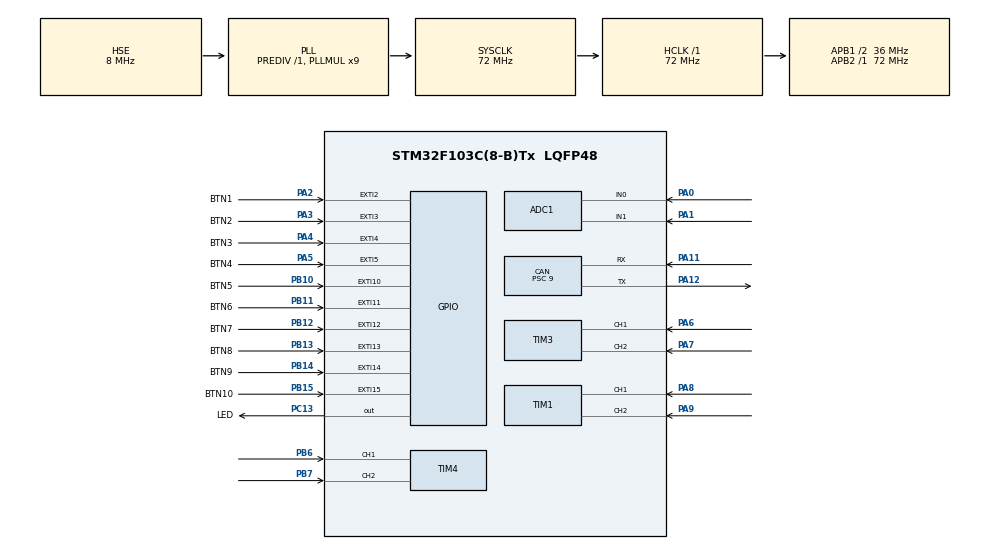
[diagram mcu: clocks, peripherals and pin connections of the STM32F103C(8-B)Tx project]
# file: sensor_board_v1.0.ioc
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ADC1.Channel-0\#ChannelRegularConversion=ADC_CHANNEL_0
ADC1.Channel-1\#ChannelRegularConversion=ADC_CHANNEL_1
ADC1.ContinuousConvMode=ENABLE
ADC1.NbrOfConversion=2
ADC1.NbrOfConversionFlag=1
ADC1.Rank-0\#ChannelRegularConversion=1
ADC1.Rank-1\#ChannelRegularConversion=2
ADC1.SamplingTime-0\#ChannelRegularConversion=ADC_SAMPLETIME_239CYCLES_5
ADC1.SamplingTime-1\#ChannelRegularConversion=ADC_SAMPLETIME_1CYCLE_5
ADC1.master=1
CAN.BS1=CAN_BS1_2TQ
CAN.CalculateBaudRate=1000000
CAN.CalculateTimeBit=1000
CAN.CalculateTimeQuantum=250.0
CAN.Prescaler=9
Dma.ADC1.0.Direction=DMA_PERIPH_TO_MEMORY
Dma.ADC1.0.Instance=DMA1_Channel1
Dma.ADC1.0.MemDataAlignment=DMA_MDATAALIGN_HALFWORD
Dma.ADC1.0.MemInc=DMA_MINC_ENABLE
Dma.ADC1.0.Mode=DMA_CIRCULAR
Dma.ADC1.0.PeriphDataAlignment=DMA_PDATAALIGN_HALFWORD
Dma.ADC1.0.PeriphInc=DMA_PINC_DISABLE
Dma.ADC1.0.Priority=DMA_PRIORITY_MEDIUM
Dma.Request0=ADC1
Mcu.Family=STM32F1
Mcu.Name=STM32F103C(8-B)Tx
Mcu.Package=LQFP48
NVIC.CAN1_RX1_IRQn=true\:0\:0\:false\:false\:true\:true\:true\:true
NVIC.DMA1_Channel1_IRQn=true\:0\:0\:false\:false\:true\:false\:true\:true
NVIC.EXTI2_IRQn=true\:0\:0\:false\:false\:true\:true\:true\:true
NVIC.EXTI3_IRQn=true\:0\:0\:false\:false\:true\:true\:true\:true
NVIC.EXTI4_IRQn=true\:0\:0\:false\:false\:true\:true\:true\:true
NVIC.PriorityGroup=NVIC_PRIORITYGROUP_4
PA0-WKUP.Signal=ADCx_IN0
PA1.Signal=ADCx_IN1
PA11.Mode=CAN_Activate
PA11.Signal=CAN_RX
PA12.Mode=CAN_Activate
PA12.Signal=CAN_TX
PA13.Mode=Serial_Wire
PA13.Signal=SYS_JTMS-SWDIO
PA14.Mode=Serial_Wire
PA14.Signal=SYS_JTCK-SWCLK
PA2.GPIO_Label=BTN1
PA2.GPIO_ModeDefaultEXTI=GPIO_MODE_IT_RISING
PA2.GPIO_PuPd=GPIO_NOPULL
PA2.Signal=GPXTI2
PA3.GPIO_Label=BTN2
PA3.GPIO_ModeDefaultEXTI=GPIO_MODE_IT_RISING
PA3.GPIO_PuPd=GPIO_NOPULL
PA3.Signal=GPXTI3
PA4.GPIO_Label=BTN3
PA4.GPIO_ModeDefaultEXTI=GPIO_MODE_IT_RISING
PA4.GPIO_PuPd=GPIO_NOPULL
PA4.Signal=GPXTI4
PA5.GPIO_Label=BTN4
PA5.GPIO_ModeDefaultEXTI=GPIO_MODE_IT_RISING
PA5.GPIO_PuPd=GPIO_NOPULL
PA5.Signal=GPXTI5
PA6.Signal=S_TIM3_CH1
PA7.Signal=S_TIM3_CH2
PA8.Signal=S_TIM1_CH1
PA9.Signal=S_TIM1_CH2
PB10.GPIO_Label=BTN5
PB10.GPIO_ModeDefaultEXTI=GPIO_MODE_IT_RISING
PB10.GPIO_PuPd=GPIO_NOPULL
PB10.Signal=GPXTI10
PB11.GPIO_Label=BTN6
PB11.GPIO_ModeDefaultEXTI=GPIO_MODE_IT_RISING
PB11.GPIO_PuPd=GPIO_NOPULL
PB11.Signal=GPXTI11
PB12.GPIO_Label=BTN7
PB12.GPIO_ModeDefaultEXTI=GPIO_MODE_IT_RISING
PB12.GPIO_PuPd=GPIO_NOPULL
PB12.Signal=GPXTI12
PB13.GPIO_Label=BTN8
PB13.GPIO_ModeDefaultEXTI=GPIO_MODE_IT_RISING
PB13.GPIO_PuPd=GPIO_NOPULL
PB13.Signal=GPXTI13
PB14.GPIO_Label=BTN9
PB14.GPIO_ModeDefaultEXTI=GPIO_MODE_IT_RISING
PB14.GPIO_PuPd=GPIO_NOPULL
PB14.Signal=GPXTI14
PB15.GPIO_Label=BTN10
PB15.GPIO_ModeDefaultEXTI=GPIO_MODE_IT_RISING
PB15.GPIO_PuPd=GPIO_NOPULL
PB15.Signal=GPXTI15
PB6.Signal=S_TIM4_CH1
PB7.Signal=S_TIM4_CH2
PC13-TAMPER-RTC.GPIO_Label=LED
PC13-TAMPER-RTC.Signal=GPIO_Output
PD0-OSC_IN.Mode=HSE-External-Oscillator
PD0-OSC_IN.Signal=RCC_OSC_IN
PD1-OSC_OUT.Mode=HSE-External-Oscillator
PD1-OSC_OUT.Signal=RCC_OSC_OUT
ProjectManager.HeapSize=0x200
ProjectManager.StackSize=0x400
ProjectManager.TargetToolchain=STM32CubeIDE
RCC.ADCPresc=RCC_ADCPCLK2_DIV6
RCC.AHBFreq_Value=72000000
RCC.APB1CLKDivider=RCC_HCLK_DIV2
RCC.APB1Freq_Value=36000000
RCC.APB1TimFreq_Value=72000000
RCC.APB2Freq_Value=72000000
RCC.APB2TimFreq_Value=72000000
RCC.HCLKFreq_Value=72000000
RCC.PLLMUL=RCC_PLL_MUL9
RCC.PLLSourceVirtual=RCC_PLLSOURCE_HSE
RCC.SYSCLKFreq_VALUE=72000000
RCC.SYSCLKSource=RCC_SYSCLKSOURCE_PLLCLK
RCC.USBFreq_Value=72000000
SH.ADCx_IN0.0=ADC1_IN0,IN0
SH.ADCx_IN1.0=ADC1_IN1,IN1
SH.S_TIM1_CH1.0=TIM1_CH1,Encoder_Interface
SH.S_TIM1_CH2.0=TIM1_CH2,Encoder_Interface
SH.S_TIM3_CH1.0=TIM3_CH1,Encoder_Interface
SH.S_TIM3_CH2.0=TIM3_CH2,Encoder_Interface
SH.S_TIM4_CH1.0=TIM4_CH1,Encoder_Interface
SH.S_TIM4_CH2.0=TIM4_CH2,Encoder_Interface
TIM1.EncoderMode=TIM_ENCODERMODE_TI12
TIM1.IC1Filter=15
TIM1.IC2Filter=15
TIM3.EncoderMode=TIM_ENCODERMODE_TI12
TIM3.IC1Filter=15
TIM3.IC2Filter=15
TIM4.EncoderMode=TIM_ENCODERMODE_TI12
TIM4.IC1Filter=15
TIM4.IC2Filter=15
board=custom

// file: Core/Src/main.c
/* USER CODE BEGIN Header */
/**
  ******************************************************************************
  * @file           : main.c
  * @brief          : Main program body
  ******************************************************************************
  * @attention
  *
  * Copyright (c) 2023 STMicroelectronics.
  * All rights reserved.
  *
  * This software is licensed under terms that can be found in the LICENSE file
  * in the root directory of this software component.
  * If no LICENSE file comes with this software, it is provided AS-IS.
  *
  ******************************************************************************
  */
/* USER CODE END Header */
#include "main.h"
#include "adc.h"
#include "can.h"
#include "dma.h"
#include "tim.h"
#include "gpio.h"

/* USER CODE BEGIN PM */
#define true 1
#define false 0

uint16_t Enc_count[3];
uint8_t BTN;
uint8_t BTN2;
uint8_t old_BTN;
uint8_t old_BTN2;
uint8_t flag = 0;
uint8_t flag_exti = 0;
uint8_t cntt;

uint16_t AD_RES[2];
uint16_t pub_adc = 0;

uint16_t time_read;
/* USER CODE END PM */

/* USER CODE BEGIN PV */
CAN_RxHeaderTypeDef RxHeader;
uint8_t RxData[8];
CAN_TxHeaderTypeDef TxHeader;
CAN_TxHeaderTypeDef TxHeader2;
uint8_t TxData[8];
uint8_t TxData2[2];
uint32_t TxMailbox;

float map(float Input, float Min_Input, float Max_Input, float Min_Output, float Max_Output)
{

	return (float)((Input - Min_Input) * (Max_Output - Min_Output) / (Max_Input - Min_Input) + Min_Output);
}

void HAL_CAN_RxFifo1MsgPendingCallback(CAN_HandleTypeDef *hcan)
{
	HAL_CAN_GetRxMessage(hcan, CAN_RX_FIFO1, &RxHeader, RxData);
	cntt++;
	while (cntt - 100 > 0)
	{
		HAL_GPIO_TogglePin(GPIOC, GPIO_PIN_13);
		cntt = 0;
	}
	if(RxHeader.StdId == 0x111){
		flag = 1;
	}

}
/* USER CODE END PV */

void SystemClock_Config(void);

int main(void)
{

  /* MCU Configuration--------------------------------------------------------*/

  /* Reset of all peripherals, Initializes the Flash interface and the Systick. */
  HAL_Init();

  /* Configure the system clock */
  SystemClock_Config();

  /* Initialize all configured peripherals */
  MX_GPIO_Init();
  MX_DMA_Init();
  MX_ADC1_Init();
  MX_CAN_Init();
  MX_TIM1_Init();
  MX_TIM3_Init();
  MX_TIM4_Init();
  /* USER CODE BEGIN 2 */
  HAL_TIM_Encoder_Start(&htim1, TIM_CHANNEL_ALL);
  HAL_TIM_Encoder_Start(&htim3, TIM_CHANNEL_ALL);
  HAL_TIM_Encoder_Start(&htim4, TIM_CHANNEL_ALL);

  HAL_ADCEx_Calibration_Start(&hadc1);
  	HAL_ADC_Start_DMA(&hadc1, &AD_RES, 2);

  	HAL_CAN_Start(&hcan);
	HAL_CAN_ActivateNotification(&hcan, CAN_IT_RX_FIFO1_MSG_PENDING);

	TxHeader.DLC = 8; // data length
	TxHeader.IDE = CAN_ID_STD;
	TxHeader.RTR = CAN_RTR_DATA;
	TxHeader.StdId = 0x333; // ID

	TxHeader2.DLC = 2; // data length
	TxHeader2.IDE = CAN_ID_STD;
	TxHeader2.RTR = CAN_RTR_DATA;
	TxHeader2.StdId = 0x444; // ID
  /* USER CODE END 2 */

  /* Infinite loop */
  while (1)
  {

    /* USER CODE BEGIN 3 */

	  	pub_adc = AD_RES[1];

	  	Enc_count[0] = TIM3->CNT;
	  	Enc_count[1] = TIM4->CNT;
	  	Enc_count[2] = TIM1->CNT;

		TxData[0] = ((Enc_count[0] & 0xFF00) >> 8);
		TxData[1] = (Enc_count[0] & 0x00FF);
		TxData[2] = ((Enc_count[1] & 0xFF00) >> 8);
		TxData[3] = (Enc_count[1] & 0x00FF);
		TxData[4] = ((Enc_count[2] & 0xFF00) >> 8);
		TxData[5] = (Enc_count[2] & 0x00FF);
		TxData[6] = ((pub_adc & 0xFF00) >> 8);
		TxData[7] = (pub_adc & 0x00FF);

		if(flag == 1){
			HAL_CAN_AddTxMessage(&hcan, &TxHeader, TxData, &TxMailbox);
			flag = 0;
		}

		if (flag_exti == 1 && (BTN != old_BTN || BTN2 != old_BTN2)){  ///  && HAL_GetTick() - time_read > 200
			HAL_CAN_AddTxMessage(&hcan, &TxHeader2, TxData2, &TxMailbox);
			flag_exti = 0;
			time_read = HAL_GetTick();

			old_BTN = BTN;
			old_BTN2 = BTN2;
		}

  }
  /* USER CODE END 3 */
}

void SystemClock_Config(void)
{
  RCC_OscInitTypeDef RCC_OscInitStruct = {0};
  RCC_ClkInitTypeDef RCC_ClkInitStruct = {0};
  RCC_PeriphCLKInitTypeDef PeriphClkInit = {0};

  /** Initializes the RCC Oscillators according to the specified parameters
  * in the RCC_OscInitTypeDef structure.
  */
  RCC_OscInitStruct.OscillatorType = RCC_OSCILLATORTYPE_HSE;
  RCC_OscInitStruct.HSEState = RCC_HSE_ON;
  RCC_OscInitStruct.HSEPredivValue = RCC_HSE_PREDIV_DIV1;
  RCC_OscInitStruct.HSIState = RCC_HSI_ON;
  RCC_OscInitStruct.PLL.PLLState = RCC_PLL_ON;
  RCC_OscInitStruct.PLL.PLLSource = RCC_PLLSOURCE_HSE;
  RCC_OscInitStruct.PLL.PLLMUL = RCC_PLL_MUL9;
  if (HAL_RCC_OscConfig(&RCC_OscInitStruct) != HAL_OK)
  {
    Error_Handler();
  }

  /** Initializes the CPU, AHB and APB buses clocks
  */
  RCC_ClkInitStruct.ClockType = RCC_CLOCKTYPE_HCLK|RCC_CLOCKTYPE_SYSCLK
                              |RCC_CLOCKTYPE_PCLK1|RCC_CLOCKTYPE_PCLK2;
  RCC_ClkInitStruct.SYSCLKSource = RCC_SYSCLKSOURCE_PLLCLK;
  RCC_ClkInitStruct.AHBCLKDivider = RCC_SYSCLK_DIV1;
  RCC_ClkInitStruct.APB1CLKDivider = RCC_HCLK_DIV2;
  RCC_ClkInitStruct.APB2CLKDivider = RCC_HCLK_DIV1;

  if (HAL_RCC_ClockConfig(&RCC_ClkInitStruct, FLASH_LATENCY_2) != HAL_OK)
  {
    Error_Handler();
  }
  PeriphClkInit.PeriphClockSelection = RCC_PERIPHCLK_ADC;
  PeriphClkInit.AdcClockSelection = RCC_ADCPCLK2_DIV6;
  if (HAL_RCCEx_PeriphCLKConfig(&PeriphClkInit) != HAL_OK)
  {
    Error_Handler();
  }
}

/* USER CODE BEGIN 4 */
void HAL_GPIO_EXTI_Callback(uint16_t GPIO_Pin)
{
	// not working
//	if(GPIO_Pin == BTN1_Pin){
//			uint8_t bit = HAL_GPIO_ReadPin(BTN1_GPIO_Port, BTN1_Pin);
//			if(bit == true){
//				BTN |= 1 <<0;//set bit 0 to high(1)
//			}
//			else BTN &= ~(1 << 0);//clear bit 0 to low(0)
//	}
	if(GPIO_Pin == BTN1_Pin  || BTN2_Pin){
			uint8_t bit1 = HAL_GPIO_ReadPin(BTN1_GPIO_Port, BTN1_Pin);
			uint8_t bit2 = HAL_GPIO_ReadPin(BTN2_GPIO_Port, BTN2_Pin);
			if(bit1 == true && bit2 != true){
				BTN |= 1 <<0;	//set bit 0 to high(1)
			}
			else if (bit1 != true && bit2 == true){
				BTN &= ~(1 << 0);	//clear bit 0 to low(0)
			}
	}
	TxData2[0] = BTN;
	TxData2[1] = BTN2;

	flag_exti = true;

}
/* USER CODE END 4 */

void Error_Handler(void)
{
  __disable_irq();
  while (1)
  {
  }
}
